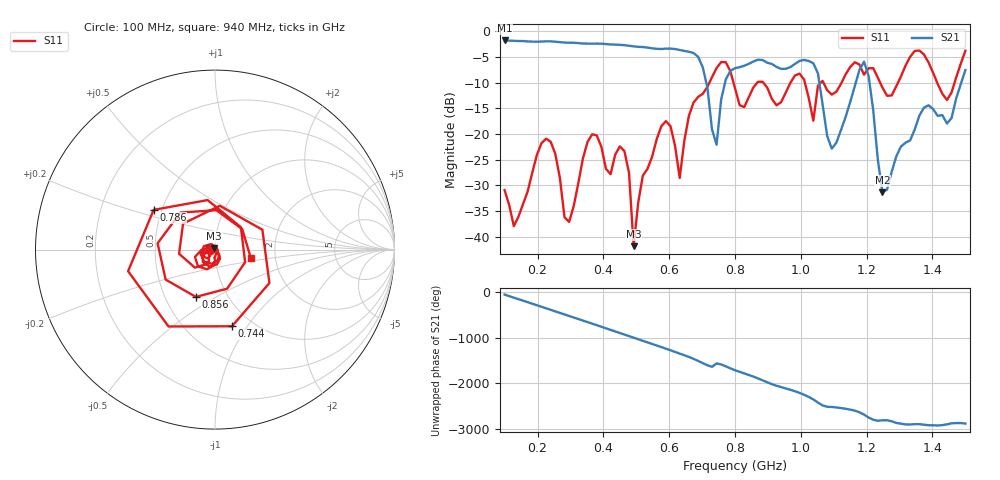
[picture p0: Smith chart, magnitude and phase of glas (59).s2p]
! NanoVNA-App
! Date: 2025-09-25 15:55:56
! Start: 100MHz Stop: 1,5GHz Points: 101
! S-Parameter data: F S11 S21 S12 S22
# Hz S RI R 50
!  Frequency  S11_Real  S11_Imag  S21_Real  S21_Imag  S12_Real  S12_Imag  S22_Real  S22_Imag
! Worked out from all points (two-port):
!   101 points, 100 MHz to 1.5 GHz, reference 50 ohm
!   highest |S21| = -1.80 dB at 100 MHz (marker M1); lowest = -31.4 dB at 1.248 GHz (marker M2)
!   |S21| within 3 dB of the highest: start of sweep to 684.5 MHz
!   lowest |S11| = -41.9 dB at 492 MHz (marker M3), VSWR 1.02, Z = 49.5 + j0.627 ohm
!   |S11| at or under -10 dB: start of sweep to 722.4 MHz; 795.4 MHz to 868 MHz (72.64 MHz wide, 8.73 % of centre); 885.8 MHz to 968.8 MHz (82.93 MHz wide, 8.94 % of centre) (the widest 3 of 7)
!   S12 and S22 are empty: the file has one direction only
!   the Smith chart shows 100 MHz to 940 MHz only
!   S11 on the Smith chart (normalised r, x): 100 MHz: 0.95, -0.01; 744 MHz: 0.81, -0.85; 786 MHz: 0.45, +0.24; 856 MHz: 0.71, -0.41; 940 MHz: 1.49, -0.14
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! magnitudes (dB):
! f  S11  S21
! 100 MHz  -31.0  -1.8
! 128 MHz  -38.0  -1.9
! 226 MHz  -20.9  -2.0
! 296 MHz  -37.1  -2.2
! 338 MHz  -24.8  -2.4
! 464 MHz  -23.4  -2.7
! 492 MHz  -41.9  -2.9
! 576 MHz  -18.5  -3.5
! 632 MHz  -28.6  -3.7
! 702 MHz  -12.2  -7.0
! 744 MHz  -7.2  -22.1
! 786 MHz  -7.8  -7.7
! 800 MHz  -11.1  -7.2
! 856 MHz  -10.9  -5.9
! 940 MHz  -13.8  -7.3
! 996 MHz  -8.3  -5.8
! 1.038 GHz  -17.4  -6.2
! 1.094 GHz  -12.3  -22.9
! 1.192 GHz  -8.5  -5.9
! 1.248 GHz  -11.0  -31.4
! 1.276 GHz  -12.5  -27.4
! 1.5 GHz  -3.8  -7.6
